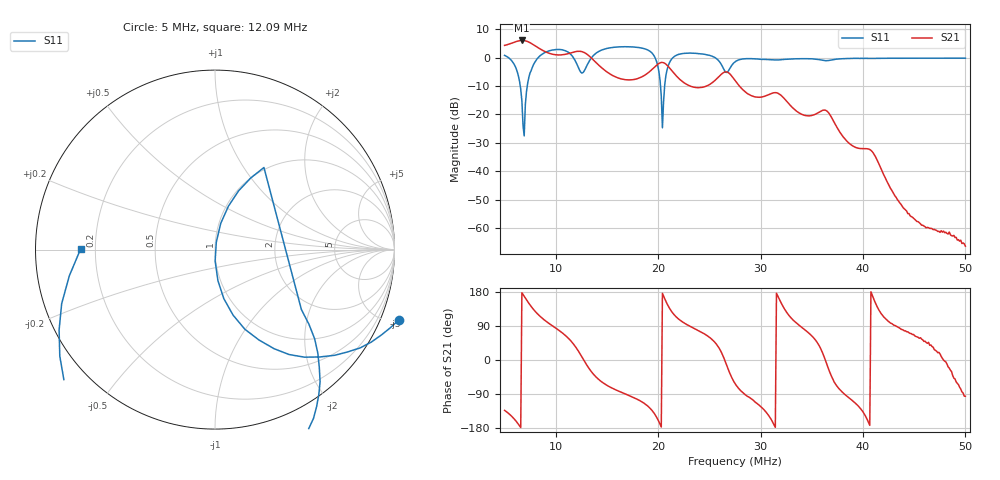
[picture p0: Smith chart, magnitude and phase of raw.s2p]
! S11/S21 only; reverse parameters are placeholders. Device calibration unverified.
! NanoVNA F V2 profile | COM3 | 2026-09-08T11:30:13.9226895-04:00 | device calibration unverified
# HZ S RI R 50
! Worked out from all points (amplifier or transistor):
!   401 points, 5 MHz to 50 MHz, reference 50 ohm
!   highest |S21| = 6.0 dB at 6.688 MHz (marker M1)
!   |S21| within 3 dB of that: start of sweep to 8.474 MHz
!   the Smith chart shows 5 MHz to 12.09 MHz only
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5000000  1.023 -0.3934  -1.12 -1.201  0 0  0 0
6125000  0.3299 -0.5525  -1.818 -0.6064  0 0  0 0
6687500  0.016 -0.1721  -2.003 0.093  0 0  0 0
7250000  0.1315 0.3275  -1.728 0.833  0 0  0 0
7925000  0.5731 -0.578  -1.057 1.253  0 0  0 0
1.02875e7  -0.1648 -1.383  0.2198 1.091  0 0  0 0
1.16375e7  -0.8647 -0.5931  0.8707 0.8735  0 0  0 0
1.25375e7  -0.2419 0.477  1.262 0.192  0 0  0 0
1.36625e7  1.066 0.2038  0.728 -0.5493  0 0  0 0
1.49e7  1.348 -0.4979  0.2403 -0.5215  0 0  0 0
1.88375e7  0.6068 -1.258  -0.2437 -0.4492  0 0  0 0
2.0075e7  -0.2312 -0.5071  -0.7563 -0.2294  0 0  0 0
2.04125e7  -0.0529 0.024  -0.8198 0.057  0 0  0 0
2.075e7  0.3975 0.2713  -0.6966 0.3256  0 0  0 0
2.1875e7  1.114 -0.1251  -0.1612 0.4255  0 0  0 0
2.53625e7  0.7845 -0.6834  0.2315 0.291  0 0  0 0
2.64875e7  0.4445 -0.3829  0.556 0.0038  0 0  0 0
2.75e7  0.8205 -0.1802  0.1859 -0.3501  0 0  0 0
3.14375e7  0.7535 -0.5096  -0.2419 -0.00958  0 0  0 0
3.50375e7  0.6583 -0.6882  0.0442 0.0855  0 0  0 0
4.2575e7  0.443 -0.8695  -0.000952 0.00538  0 0  0 0
5e7  0.1588 -0.9643  -4.8e-05 -0.000475  0 0  0 0
